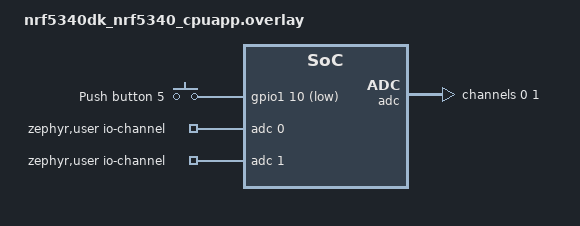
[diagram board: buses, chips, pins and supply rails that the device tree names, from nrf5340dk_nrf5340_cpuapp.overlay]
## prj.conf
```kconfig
CONFIG_GPIO=y
CONFIG_ADC=y


CONFIG_LOG=y
#CONFIG_LOG_BACKEND_UART=y
CONFIG_LOG_PRINTK=y
```

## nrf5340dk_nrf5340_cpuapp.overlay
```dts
// To get started, press Ctrl+Space to bring up the completion menu and view the available nodes.

// You can also use the buttons in the sidebar to perform actions on nodes.
// Actions currently available include:

// * Enabling / disabling the node
// * Adding the bus to a bus
// * Removing the node
// * Connecting ADC channels

// For more help, browse the DeviceTree documentation at https://docs.zephyrproject.org/latest/guides/dts/index.html
// You can also visit the nRF DeviceTree extension documentation at https://docs.nordicsemi.com/bundle/nrf-connect-vscode/page/guides/ncs_configure_app.html#devicetree-support-in-the-extension

/ {
	buttons {
		button4: button_4 {
			gpios = <&gpio1 10 (GPIO_ACTIVE_LOW | GPIO_PULL_UP)>;
			label = "Push button 5";
		};
	};

    aliases {
        sw4 = &button4;
    };

    zephyr,user {
		io-channels = <&adc 0>, <&adc 1>;
	};
};

&adc {
	#address-cells = <1>;
	#size-cells = <0>;

	channel@0 {
		reg = <0>;
		zephyr,gain = "ADC_GAIN_1_6";
		zephyr,reference = "ADC_REF_INTERNAL";
		zephyr,acquisition-time = <ADC_ACQ_TIME_DEFAULT>;
		zephyr,input-positive = <NRF_SAADC_AIN0>;
		zephyr,resolution = <12>;
	};

	channel@1 {
		reg = <1>;
		zephyr,gain = "ADC_GAIN_1_6";
		zephyr,reference = "ADC_REF_INTERNAL";
		zephyr,acquisition-time = <ADC_ACQ_TIME_DEFAULT>;
		zephyr,input-positive = <NRF_SAADC_AIN1>;
		zephyr,resolution = <12>;
	};
};
```

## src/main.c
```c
/*

 * Push joystick up for slow blinks
 * push left for fast blinks
 * depress button to toggle (poor mechanical switch so this is unreliable)
 * Log will display messages to screen using 115200, COM5 for my PC
 * uses sunfounder joystick
 */

#include <zephyr/kernel.h>
#include <zephyr/device.h>
#include <zephyr/devicetree.h>
#include <zephyr/drivers/gpio.h>

#include <zephyr/logging/log.h>
#include <zephyr/drivers/adc.h>


LOG_MODULE_REGISTER(Joystick, LOG_LEVEL_DBG);//registers this program to be able to run up to debug messages


//Global varables
int x_mv;//x and y values in mv from the ADCs
int y_mv;

bool has_debounce;//bool for when debounce has finished

bool led_timer_running;//bool for if timer for led is already going
	
int16_t x_adc_buf;//buffers for filling wiith adc values
int16_t y_adc_buf;

//structs for adc init and return bufs
struct adc_sequence sequence = {
	.buffer = &x_adc_buf,
	.buffer_size = sizeof(x_adc_buf),
	// Optional
	//.calibrate = true,
};

struct adc_sequence sequence2 = {
	.buffer = &y_adc_buf,
	.buffer_size = sizeof(y_adc_buf),
	// Optional
	//.calibrate = true,
};


//


static const struct adc_dt_spec adc_channel1 = ADC_DT_SPEC_GET_BY_IDX(DT_PATH(zephyr_user),0);//gets ADC channe from devicetree
static const struct adc_dt_spec adc_channel2 = ADC_DT_SPEC_GET_BY_IDX(DT_PATH(zephyr_user),1);

#define SW0_NODE DT_ALIAS(sw4)//define a new button for the switch
static const struct gpio_dt_spec button = GPIO_DT_SPEC_GET(SW0_NODE, gpios);

#define LED0_NODE DT_ALIAS(led0)//define board LED1
static const struct gpio_dt_spec led = GPIO_DT_SPEC_GET(LED0_NODE, gpios);

static struct k_timer debounce_timer;//defines timers
static struct k_timer led_blink_timer;


static struct gpio_callback button_cb_data;

//button press function, checks for debounce and toggles led
void button_pressed(const struct device *dev, struct gpio_callback *cb, uint32_t pins)
{
	
	if (has_debounce){
		LOG_INF("Button pressed");
		gpio_pin_toggle_dt(&led);
		return;
	} else {
		LOG_INF("Button waiting on debounce");
	}
	has_debounce = false;
	k_timer_start(&debounce_timer, K_MSEC(500), K_NO_WAIT);
	
}





//debounce expiry function, sets debounce to true and stops timer
void debounce_timer_expiry_function(struct k_timer *timer_id)
{
    has_debounce = true;
	k_timer_stop(&debounce_timer);
}


//function for when debounce timer stops, no code needed yet
void debounce_stop_timer_function(struct k_timer *timer_id)
{

}



void led_timer_expiry_function(struct k_timer *timer_id)
{
	//LOG_INF("Led toggling");
	gpio_pin_toggle_dt(&led);
	led_timer_running = true;
    k_timer_start(&led_blink_timer, K_MSEC(x_mv <= 1000 ? 200 : 500), K_NO_WAIT);
	if(x_mv >= 1000 && y_mv >= 1000){
		k_timer_stop(&led_blink_timer);
		led_timer_running = false;
	}
	
}

//function for when led timer stops, no code needed yet
void led_timer_stop_function(struct k_timer *timer_id)
{

}


bool adc_init(){
	if (!adc_is_ready_dt(&adc_channel1) || !adc_is_ready_dt(&adc_channel2)) {
		LOG_ERR("ADC controller devivce %s not ready");
		return false;
	}

	if (adc_channel_setup_dt(&adc_channel1) < 0 || adc_channel_setup_dt(&adc_channel2) < 0) {
		LOG_ERR("Could not setup channel");
		return false;
	}

	if (adc_sequence_init_dt(&adc_channel1, &sequence) < 0 || adc_sequence_init_dt(&adc_channel2, &sequence2) < 0) {
		LOG_ERR("Could not initalize sequnce");
		return false;
	}

	return true;
}


int main(void)
{
	
	int ret;//return value from functions, used to check error codes

	has_debounce = true;//reset debounce so we can start with a button press

	led_timer_running = false;



	adc_init();



	//function for when deboucne timer stops, no code needed yet
	k_timer_init(&debounce_timer, debounce_timer_expiry_function, debounce_stop_timer_function);
	k_timer_init(&led_blink_timer, led_timer_expiry_function, led_timer_stop_function);


	if (!device_is_ready(button.port)) {
		//return -1;
	}

	if (!device_is_ready(led.port)) {
		return -1;
	}
	
	ret = gpio_pin_configure_dt(&led, GPIO_OUTPUT_ACTIVE);
	if (ret < 0) {
		//return -1;
	}

	ret = gpio_pin_configure_dt(&button, GPIO_INPUT);
	if (ret < 0) {
		//return -1;
	}

	ret = gpio_pin_interrupt_configure_dt(&button, GPIO_INT_EDGE_TO_ACTIVE);


	gpio_init_callback(&button_cb_data, button_pressed, BIT(button.pin));

	uint16_t i;
	gpio_add_callback(button.port, &button_cb_data);
	while (1) {
		ret = adc_read(adc_channel1.dev, &sequence);
		if(ret != 0) LOG_ERR("ADC 1 couln't read ret:%d", ret);
		x_mv = (int)x_adc_buf;
		ret = adc_raw_to_millivolts_dt(&adc_channel1, &x_mv);
		if(led_timer_running == false && x_mv <= 500 && y_mv >= 1000){
			LOG_INF("Timer started by adc 1");
			k_timer_start(&led_blink_timer, K_MSEC(200), K_NO_WAIT);
			led_timer_running = true;
		}
		
		ret = adc_read(adc_channel2.dev, &sequence2);
		if(ret != 0) LOG_ERR("ADC 2 couln't read ret:%d", ret);
		y_mv = (int)y_adc_buf;
		ret = adc_raw_to_millivolts_dt(&adc_channel2, &y_mv);
		if(led_timer_running == false && y_mv <= 500 && x_mv >= 1000){
			LOG_INF("Timer started BY ADC 2");
			k_timer_start(&led_blink_timer, K_MSEC(500), K_NO_WAIT);
			led_timer_running = true;
		}
		
		if(i++ % 10 == 0) LOG_INF("val1:%d\t  val2:%d%stimer running%d",x_mv,y_mv, "\t", led_timer_running);
		k_sleep(K_MSEC(50));
	}
}
```
